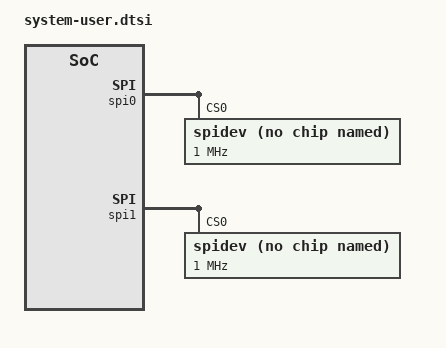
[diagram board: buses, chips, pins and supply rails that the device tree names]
/include/ "system-conf.dtsi"
/ {
     dma_proxy {
         compatible ="xlnx,dma_proxy";
         dmas = <&axi_dma_0 0
                 &axi_dma_0 1>;
         dma-names = "dma_proxy_tx", "dma_proxy_rx";
     };
};

&spi0{
  is-decoded-cs = <0>;
  num-cs = <1>;
  status = "okay";
  bus-num = <0>;
  spidev@0x00 {
    compatible = "linux,spidev";
    spi-max-frequency = <1000000>;
    spi-cpol = <0>;
    spi-cpha = <0>;
    reg = <0>;
    bus-num = <0>;
  };
};

&spi1{
   status = "okay";
   is-decoded-cs = <0>;
   num-cs = <1>;
   status = "okay";
   bus-num = <1>;
   spidev@0x00 {
     compatible = "linux,spidev";
     spi-max-frequency = <1000000>;
     spi-cpol;
     spi-cpha;
     reg = <0>;
     bus-num = <1>;
  };
};
